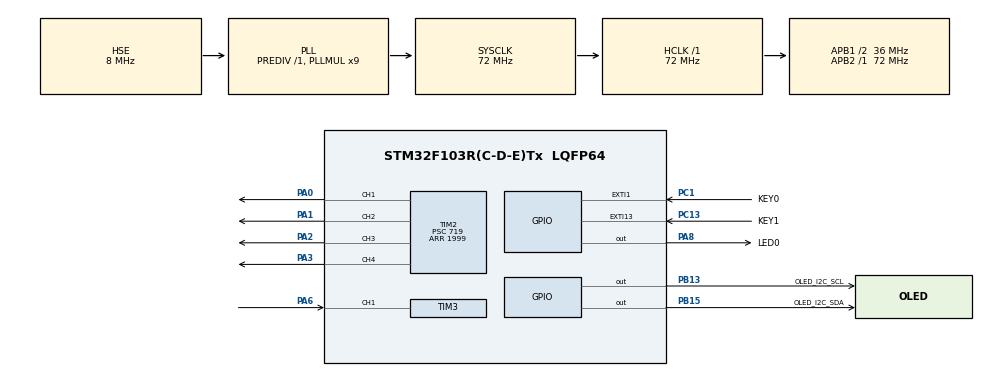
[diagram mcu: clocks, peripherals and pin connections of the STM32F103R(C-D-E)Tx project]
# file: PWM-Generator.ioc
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Mcu.Family=STM32F1
Mcu.Name=STM32F103R(C-D-E)Tx
Mcu.Package=LQFP64
NVIC.EXTI15_10_IRQn=true\:6\:0\:true\:false\:true\:true\:true\:true
NVIC.EXTI1_IRQn=true\:6\:0\:true\:false\:true\:true\:true\:true
NVIC.PriorityGroup=NVIC_PRIORITYGROUP_4
NVIC.TIM3_IRQn=true\:0\:0\:false\:false\:true\:true\:true\:true
PA0-WKUP.Signal=S_TIM2_CH1_ETR
PA1.Signal=S_TIM2_CH2
PA13.Mode=Serial_Wire
PA13.Signal=SYS_JTMS-SWDIO
PA14.Mode=Serial_Wire
PA14.Signal=SYS_JTCK-SWCLK
PA2.Signal=S_TIM2_CH3
PA3.Signal=S_TIM2_CH4
PA6.Signal=S_TIM3_CH1
PA8.GPIO_Label=LED0
PA8.Signal=GPIO_Output
PB13.GPIO_Label=OLED_I2C_SCL
PB13.GPIO_ModeDefaultOutputPP=GPIO_MODE_OUTPUT_OD
PB13.GPIO_PuPd=GPIO_NOPULL
PB13.GPIO_Speed=GPIO_SPEED_FREQ_HIGH
PB13.Signal=GPIO_Output
PB15.GPIO_Label=OLED_I2C_SDA
PB15.GPIO_ModeDefaultOutputPP=GPIO_MODE_OUTPUT_OD
PB15.GPIO_PuPd=GPIO_NOPULL
PB15.GPIO_Speed=GPIO_SPEED_FREQ_HIGH
PB15.Signal=GPIO_Output
PC1.GPIO_Label=KEY0
PC1.GPIO_ModeDefaultEXTI=GPIO_MODE_IT_FALLING
PC1.GPIO_PuPd=GPIO_PULLUP
PC1.Signal=GPXTI1
PC13-TAMPER-RTC.GPIO_Label=KEY1
PC13-TAMPER-RTC.GPIO_ModeDefaultEXTI=GPIO_MODE_IT_FALLING
PC13-TAMPER-RTC.GPIO_PuPd=GPIO_PULLUP
PC13-TAMPER-RTC.Signal=GPXTI13
PD0-OSC_IN.Mode=HSE-External-Oscillator
PD0-OSC_IN.Signal=RCC_OSC_IN
PD1-OSC_OUT.Mode=HSE-External-Oscillator
PD1-OSC_OUT.Signal=RCC_OSC_OUT
ProjectManager.HeapSize=0x200
ProjectManager.StackSize=0x400
ProjectManager.TargetToolchain=STM32CubeIDE
RCC.AHBFreq_Value=72000000
RCC.APB1CLKDivider=RCC_HCLK_DIV2
RCC.APB1Freq_Value=36000000
RCC.APB1TimFreq_Value=72000000
RCC.APB2Freq_Value=72000000
RCC.APB2TimFreq_Value=72000000
RCC.HCLKFreq_Value=72000000
RCC.PLLMUL=RCC_PLL_MUL9
RCC.PLLSourceVirtual=RCC_PLLSOURCE_HSE
RCC.SYSCLKFreq_VALUE=72000000
RCC.SYSCLKSource=RCC_SYSCLKSOURCE_PLLCLK
RCC.USBFreq_Value=72000000
SH.S_TIM2_CH1_ETR.0=TIM2_CH1,PWM Generation1 CH1
SH.S_TIM2_CH2.0=TIM2_CH2,PWM Generation2 CH2
SH.S_TIM2_CH3.0=TIM2_CH3,PWM Generation3 CH3
SH.S_TIM2_CH4.0=TIM2_CH4,PWM Generation4 CH4
SH.S_TIM3_CH1.0=TIM3_CH1,PWM_Input_1
TIM2.AutoReloadPreload=TIM_AUTORELOAD_PRELOAD_ENABLE
TIM2.Channel-PWM\ Generation1\ CH1=TIM_CHANNEL_1
TIM2.Channel-PWM\ Generation2\ CH2=TIM_CHANNEL_2
TIM2.Channel-PWM\ Generation3\ CH3=TIM_CHANNEL_3
TIM2.Channel-PWM\ Generation4\ CH4=TIM_CHANNEL_4
TIM2.Period=1999
TIM2.Prescaler=719
TIM3.ICFilter_1=15
TIM3.ICFilter_2=15
TIM3.Prescaler=71
VP_TIM2_VS_ClockSourceINT.Mode=Internal
board=custom

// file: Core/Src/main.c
/* USER CODE BEGIN Header */
/**
  ******************************************************************************
  * @file           : main.c
  * @brief          : Main program body
  ******************************************************************************
  * @attention
  *
  * Copyright (c) 2024 STMicroelectronics.
  * All rights reserved.
  *
  * This software is licensed under terms that can be found in the LICENSE file
  * in the root directory of this software component.
  * If no LICENSE file comes with this software, it is provided AS-IS.
  *
  ******************************************************************************
  */
/* USER CODE END Header */
#include "main.h"
#include "tim.h"
#include "gpio.h"

/* USER CODE BEGIN Includes */

#include "oled.h"
#include "key.h"

/* USER CODE END Includes */

void SystemClock_Config(void);

int main(void)
{

  /* MCU Configuration--------------------------------------------------------*/

  /* Reset of all peripherals, Initializes the Flash interface and the Systick. */
  HAL_Init();

  /* Configure the system clock */
  SystemClock_Config();

  /* Initialize all configured peripherals */
  MX_GPIO_Init();
  MX_TIM2_Init();
  MX_TIM3_Init();
  /* USER CODE BEGIN 2 */

  OLED_Init();

  // Start TIM2 PWM Output
  TIM2_PWM_Init();

  // Start TIM3 PWM Input to capture frequency and duty cycle
  HAL_TIM_IC_Start_IT(&htim3, TIM_CHANNEL_1);
  HAL_TIM_IC_Start_IT(&htim3, TIM_CHANNEL_2);

  /* USER CODE END 2 */

  /* Infinite loop */
  while (1)
  {

    /* USER CODE BEGIN 3 */

    // Display the frequency and duty cycle of output PWM signal
    OLED_ShowString(1, 1, "OF:");
    OLED_ShowNum(1, 4, Frequency, 3);
    OLED_ShowString(1, 7, "Hz");
    OLED_ShowString(2, 1, "OD:");
    OLED_ShowNum(2, 4, DutyCycle, 3);
    OLED_ShowString(2, 7, "%");

    // Display the frequency and duty cycle of intput PWM signal
    OLED_ShowString(3, 1, "IF:");
    OLED_ShowNum(3, 4, Input_Frequency, 3);
    OLED_ShowString(3, 7, "Hz");
    OLED_ShowString(4, 1, "ID:");
    OLED_ShowNum(4, 4, Input_DutyCycle, 3);
    OLED_ShowString(4, 7, "%");
  }
  /* USER CODE END 3 */
}

void SystemClock_Config(void)
{
  RCC_OscInitTypeDef RCC_OscInitStruct = {0};
  RCC_ClkInitTypeDef RCC_ClkInitStruct = {0};

  /** Initializes the RCC Oscillators according to the specified parameters
  * in the RCC_OscInitTypeDef structure.
  */
  RCC_OscInitStruct.OscillatorType = RCC_OSCILLATORTYPE_HSE;
  RCC_OscInitStruct.HSEState = RCC_HSE_ON;
  RCC_OscInitStruct.HSEPredivValue = RCC_HSE_PREDIV_DIV1;
  RCC_OscInitStruct.HSIState = RCC_HSI_ON;
  RCC_OscInitStruct.PLL.PLLState = RCC_PLL_ON;
  RCC_OscInitStruct.PLL.PLLSource = RCC_PLLSOURCE_HSE;
  RCC_OscInitStruct.PLL.PLLMUL = RCC_PLL_MUL9;
  if (HAL_RCC_OscConfig(&RCC_OscInitStruct) != HAL_OK)
  {
    Error_Handler();
  }

  /** Initializes the CPU, AHB and APB buses clocks
  */
  RCC_ClkInitStruct.ClockType = RCC_CLOCKTYPE_HCLK|RCC_CLOCKTYPE_SYSCLK
                              |RCC_CLOCKTYPE_PCLK1|RCC_CLOCKTYPE_PCLK2;
  RCC_ClkInitStruct.SYSCLKSource = RCC_SYSCLKSOURCE_PLLCLK;
  RCC_ClkInitStruct.AHBCLKDivider = RCC_SYSCLK_DIV1;
  RCC_ClkInitStruct.APB1CLKDivider = RCC_HCLK_DIV2;
  RCC_ClkInitStruct.APB2CLKDivider = RCC_HCLK_DIV1;

  if (HAL_RCC_ClockConfig(&RCC_ClkInitStruct, FLASH_LATENCY_2) != HAL_OK)
  {
    Error_Handler();
  }
}

void Error_Handler(void)
{
  __disable_irq();
  while (1)
  {
  }
}
